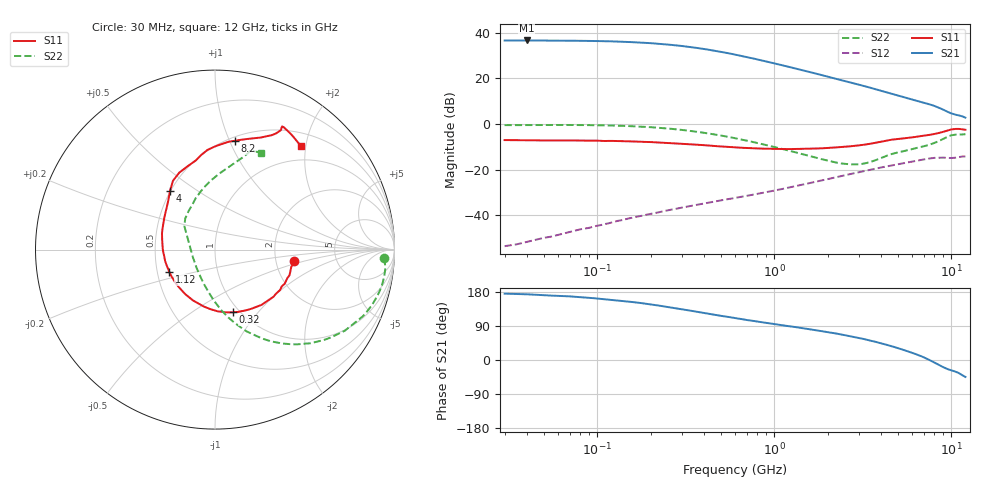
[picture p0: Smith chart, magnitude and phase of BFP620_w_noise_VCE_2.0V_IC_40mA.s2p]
! Infineon Technologies  Discrete & RF Semiconductors
! BFP620
! VCE =  2.0 V,  IC =  40 mA
! Common Emitter S-Parameters:  Nov 2015
# GHz  S  MA  R  50
!  f  S11  S21  S12  S22
! GHz  MAG  ANG  MAG  ANG  MAG  ANG  MAG  ANG
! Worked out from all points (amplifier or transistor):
!   239 points, 30 MHz to 12 GHz, reference 50 ohm
!   highest |S21| = 36.6 dB at 40 MHz (marker M1)
!   |S21| within 3 dB of that: start of sweep to 344.5 MHz
!   unconditionally stable (mu >= 1): 2.209 GHz to end of sweep
!   at 300 MHz: K = 0.43, MSG = 35.4 dB, |S12| = -36.7 dB
!   at 1.88 GHz: K = 0.98, MSG = 23.0 dB, |S12| = -24.6 dB
!   at 12 GHz: K = 1.09, MAG = 6.7 dB, |S12| = -14.2 dB
!   lowest NFmin = 1.33 dB at 450 MHz
!   S11 on the Smith chart (normalised r, x): 30 MHz: 2.52, -0.40; 320 MHz: 0.93, -0.75; 1.12 GHz: 0.58, -0.16; 4 GHz: 0.50, +0.39; 8.2 GHz: 0.54, +1.05; 12 GHz: 0.73, +1.91
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0.03  0.4446 -8.3  67.7 175.1  0.0021 87.0  0.945 -2.9
0.04  0.4422 -11.0  67.93 173.4  0.0026 85.8  0.9507 -4.8
0.05  0.4359 -12.6  67.63 170.7  0.0032 83.1  0.9546 -6.7
0.07  0.4391 -19.0  67.37 167.9  0.0043 81.5  0.953 -10.5
0.085  0.4329 -22.8  66.58 165.0  0.0051 81.3  0.948 -13.3
0.115  0.4256 -30.2  65.24 159.7  0.0066 78.1  0.9307 -18.6
0.15  0.4186 -38.9  62.95 154.1  0.0085 76.3  0.9027 -24.4
0.19  0.4044 -47.7  59.93 148.2  0.0103 73.6  0.8616 -30.4
0.24  0.387 -58.4  56.05 141.2  0.0124 71.4  0.8089 -37.3
0.3  0.3694 -70.4  51.44 133.9  0.0147 69.1  0.7446 -44.5
0.32  0.3631 -73.9  49.89 131.9  0.0154 68.5  0.7229 -46.5
0.36  0.3534 -81.0  46.98 127.8  0.0168 67.4  0.6821 -50.7
0.44  0.3343 -93.3  41.64 120.9  0.0194 65.7  0.6077 -57.7
0.6  0.3083 -113.7  33.29 110.5  0.024 64.0  0.4891 -68.8
0.8  0.2918 -132.6  26.12 101.4  0.0294 63.0  0.3845 -79.0
1.12  0.2831 -153.9  19.22 91.4  0.038 61.7  0.2816 -91.7
1.64  0.2886 -177.3  13.34 80.1  0.0522 58.5  0.1923 -110.4
2.4  0.3138 159.1  9.135 67.0  0.0725 52.1  0.1364 -144.4
4  0.4115 127.5  5.378 44.0  0.1113 36.0  0.1793 152.1
4.5  0.4494 121.4  4.735 37.4  0.1216 31.0  0.2148 142.6
8.2  0.616 79.7  2.407 -9.0  0.1817 -8.0  0.3986 90.9
12  0.7489 50.1  1.381 -44.7  0.1939 -38.7  0.5982 64.6
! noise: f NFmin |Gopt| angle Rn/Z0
0.45  1.33  0.22  -164  0.1
0.9  1.34  0.26  -152  0.1
1.9  1.35  0.29  -138  0.11
2.4  1.37  0.29  -136  0.12
3.5  1.41  0.36  -103  0.2
5.5  1.7  0.39  -84  0.26
10  2.02  0.64  -44  1.05
